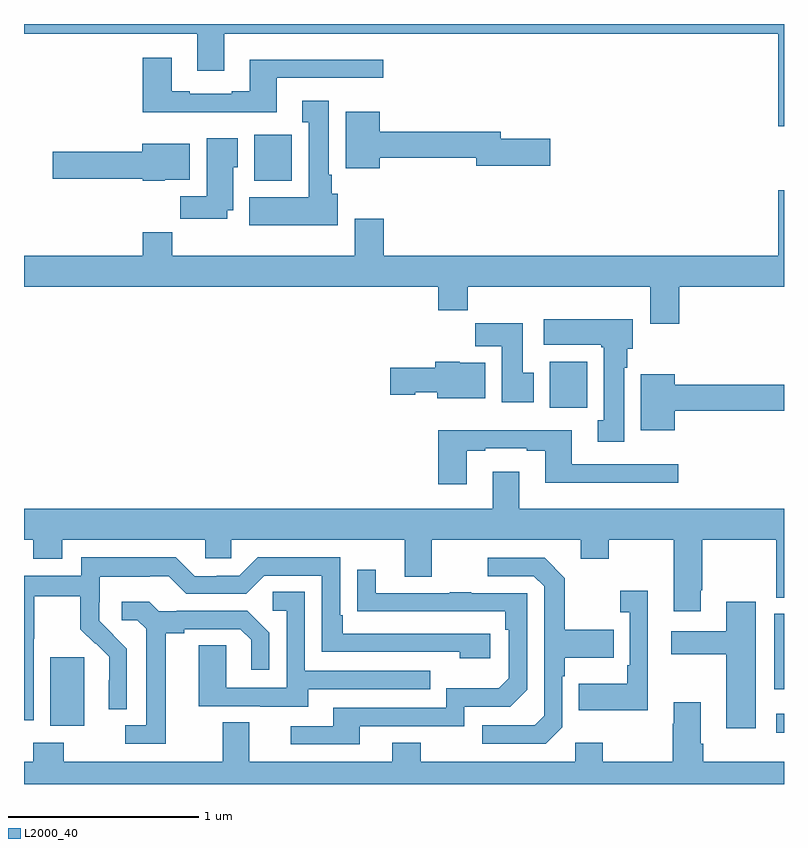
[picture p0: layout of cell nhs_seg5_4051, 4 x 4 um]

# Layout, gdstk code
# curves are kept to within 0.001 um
import gdstk
lib = gdstk.Library(unit=1e-6, precision=1e-09)
def R(c, l, rs):  # rectangles x0, y0, x1, y1
    for r in rs: c.add(gdstk.rectangle(r[:2], r[2:], *l))
def P(c, l, *ps):  # polygons
    for p in ps: c.add(gdstk.Polygon(p, *l))
L2000_40 = (2000, 40)

nhs_seg5_4051 = lib.new_cell('nhs_seg5_4051')
R(nhs_seg5_4051, L2000_40, [(352.959,865.07,353,865.168), (349.139,865.106,349.318,865.467), (352.949,865.299,353,865.695), (351.767,866.78,351.964,867.022), (350.213,867.974,350.41,868.216)])
P(nhs_seg5_4051, L2000_40, [(353,868.799),(349,868.799),(349,868.748),(349.913,868.748),(349.913,868.554),(350.053,868.554),(350.053,868.748),(352.969,868.748),(352.969,868.26),(353,868.26)],
  [(350.329,868.515),(350.89,868.515),(350.89,868.612),(350.189,868.612),(350.189,868.444),(350.093,868.444),(350.093,868.431),(349.873,868.431),(349.873,868.444),(349.777,868.444),(349.777,868.621),(349.625,868.621),(349.625,868.334),(350.329,868.334)],
  [(350.65,867.906),(350.62,867.906),(350.62,868.006),(350.605,868.006),(350.605,868.396),(350.465,868.396),(350.465,868.283),(350.498,868.283),(350.498,867.886),(350.186,867.886),(350.186,867.74),(350.65,867.74)],
  [(350.872,868.096),(351.38,868.096),(351.38,868.054),(351.769,868.054),(351.769,868.196),(351.508,868.196),(351.508,868.232),(350.872,868.232),(350.872,868.336),(350.693,868.336),(350.693,868.04),(350.872,868.04)],
  [(350.071,867.818),(350.101,867.818),(350.101,868.044),(350.125,868.044),(350.125,868.198),(349.961,868.198),(349.961,867.892),(349.822,867.892),(349.822,867.774),(350.071,867.774)],
  [(349.74,867.98),(349.873,867.98),(349.873,868.168),(349.622,868.168),(349.622,868.127),(349.152,868.127),(349.152,867.985),(349.626,867.985),(349.626,867.974),(349.74,867.974)],
  [(352.448,867.416),(353,867.416),(353,867.925),(352.969,867.925),(352.969,867.58),(350.894,867.58),(350.894,867.775),(350.741,867.775),(350.741,867.58),(349.781,867.58),(349.781,867.704),(349.625,867.704),(349.625,867.58),(349,867.58),(349,867.416),(351.179,867.416),(351.179,867.292),(351.335,867.292),(351.335,867.416),(352.295,867.416),(352.295,867.222),(352.448,867.222)],
  [(352.159,866.99),(352.174,866.99),(352.174,867.09),(352.204,867.09),(352.204,867.244),(351.735,867.244),(351.735,867.11),(352.039,867.11),(352.039,867.097),(352.052,867.097),(352.052,866.714),(352.019,866.714),(352.019,866.601),(352.159,866.601)],
  [(351.682,866.964),(351.625,866.964),(351.625,867.223),(351.376,867.223),(351.376,867.104),(351.515,867.104),(351.515,866.808),(351.682,866.808)],
  [(351.427,867.016),(351.294,867.016),(351.294,867.022),(351.164,867.022),(351.164,866.991),(350.928,866.991),(350.928,866.849),(351.06,866.849),(351.06,866.861),(351.176,866.861),(351.176,866.828),(351.427,866.828)],
  [(352.426,866.764),(353,866.764),(353,866.9),(352.426,866.9),(352.426,866.956),(352.247,866.956),(352.247,866.66),(352.426,866.66)],
  [(351.331,866.553),(351.427,866.553),(351.427,866.565),(351.647,866.565),(351.647,866.553),(351.743,866.553),(351.743,866.384),(352.444,866.384),(352.444,866.481),(351.883,866.481),(351.883,866.662),(351.179,866.662),(351.179,866.376),(351.331,866.376)],
  [(351.467,866.443),(351.467,866.248),(349,866.248),(349,866.084),(349.049,866.084),(349.049,865.985),(349.201,865.985),(349.201,866.084),(349.953,866.084),(349.953,865.986),(350.091,865.986),(350.091,866.084),(351.005,866.084),(351.005,865.89),(351.145,865.89),(351.145,866.084),(351.929,866.084),(351.929,865.985),(352.077,865.985),(352.077,866.084),(352.421,866.084),(352.421,865.707),(352.561,865.707),(352.561,865.819),(352.569,865.819),(352.569,866.084),(352.96,866.084),(352.96,865.78),(353,865.78),(353,866.248),(351.607,866.248),(351.607,866.443)],
  [(349.05,865.564),(349.053,865.564),(349.053,865.788),(349.297,865.788),(349.297,865.613),(349.374,865.536),(349.377,865.539),(349.448,865.469),(349.448,865.346),(349.446,865.346),(349.446,865.192),(349.542,865.192),(349.542,865.51),(349.396,865.658),(349.396,865.755),(349.398,865.755),(349.398,865.889),(349.661,865.889),(349.661,865.893),(349.761,865.893),(349.854,865.8),(350.169,865.8),(350.265,865.896),(350.568,865.896),(350.568,865.494),(351.293,865.494),(351.293,865.46),(351.454,865.46),(351.454,865.59),(350.677,865.59),(350.677,865.687),(350.664,865.687),(350.664,865.992),(350.229,865.992),(350.133,865.896),(350.015,865.896),(350.015,865.893),(349.899,865.893),(349.799,865.993),(349.302,865.993),(349.302,865.896),(349,865.896),(349,865.135),(349.05,865.135)],
  [(351.834,865.098),(351.834,865.367),(351.847,865.367),(351.847,865.463),(352.103,865.463),(352.103,865.611),(351.847,865.611),(351.847,865.883),(351.741,865.989),(351.441,865.989),(351.441,865.893),(351.684,865.893),(351.738,865.839),(351.738,865.158),(351.687,865.107),(351.411,865.107),(351.411,865.011),(351.747,865.011)],
  [(350.767,865.104),(351.318,865.104),(351.318,865.206),(351.558,865.206),(351.648,865.296),(351.648,865.803),(351.353,865.803),(351.353,865.808),(351.241,865.808),(351.241,865.803),(350.851,865.803),(350.851,865.927),(350.755,865.927),(350.755,865.708),(351.532,865.707),(351.532,865.61),(351.552,865.61),(351.552,865.356),(351.499,865.303),(351.222,865.303),(351.222,865.2),(350.627,865.2),(350.627,865.104),(350.403,865.104),(350.403,865.008),(350.767,865.008)],
  [(352.284,865.816),(352.137,865.816),(352.137,865.703),(352.188,865.703),(352.188,865.423),(352.176,865.423),(352.176,865.327),(351.919,865.327),(351.919,865.187),(352.284,865.187)],
  [(350.497,865.299),(351.137,865.299),(351.137,865.395),(350.478,865.395),(350.478,865.811),(350.31,865.811),(350.31,865.71),(350.382,865.71),(350.382,865.305),(350.064,865.305),(350.064,865.529),(349.919,865.529),(349.919,865.209),(350.243,865.209),(350.243,865.205),(350.497,865.205)],
  [(349.747,865.592),(349.843,865.592),(349.843,865.614),(350.138,865.614),(350.195,865.557),(350.195,865.401),(350.292,865.401),(350.292,865.594),(350.176,865.71),(349.804,865.71),(349.804,865.707),(349.71,865.707),(349.658,865.759),(349.515,865.759),(349.515,865.662),(349.596,865.662),(349.643,865.615),(349.643,865.107),(349.533,865.107),(349.533,865.011),(349.747,865.011)],
  [(352.852,865.759),(352.697,865.759),(352.697,865.603),(352.407,865.603),(352.407,865.481),(352.697,865.481),(352.697,865.092),(352.852,865.092)],
  [(353,864.916),(352.574,864.916),(352.574,865.012),(352.561,865.012),(352.561,865.228),(352.421,865.228),(352.421,865.115),(352.414,865.115),(352.414,864.916),(352.047,864.916),(352.047,865.015),(351.9,865.015),(351.9,864.916),(351.087,864.916),(351.087,865.015),(350.939,865.015),(350.939,864.916),(350.185,864.916),(350.185,865.124),(350.045,865.124),(350.045,864.916),(349.209,864.916),(349.209,865.015),(349.049,865.015),(349.049,864.916),(349,864.916),(349,864.799),(353,864.799)])

lib.write_gds('nhs_seg5_4051.gds')
